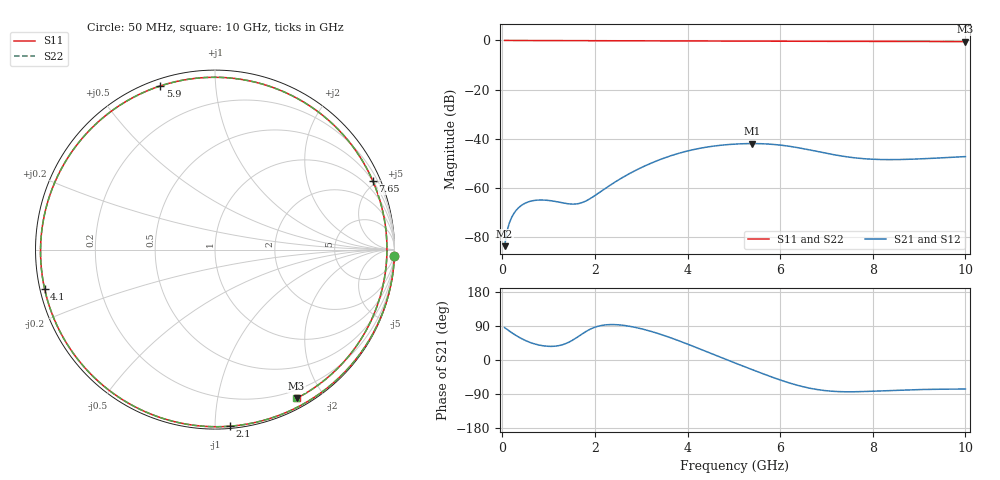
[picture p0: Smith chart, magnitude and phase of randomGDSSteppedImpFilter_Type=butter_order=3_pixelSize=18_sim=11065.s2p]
! freq	dB(S11)	phase(S11)	dB(S12)	phase(S12)
!  dB(S21)	phase(S21)	dB(S22)	phase(S22)
!S-par simulation data
#  GHz  S  DB  R 50
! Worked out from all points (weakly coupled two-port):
!   200 points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, 50 MHz to 10 GHz, reference 50 ohm
!   highest |S21| = -41.87 dB at 5.4 GHz (marker M1); lowest = -83.5 dB at 50 MHz (marker M2)
!   lowest |S11| = -0.5 dB at 10 GHz (marker M3), VSWR 35.47, Z = 5.42 - j84.2 ohm
!   |S11| at or under -10 dB: nowhere
!   |S22| runs from -0.5 to 0.0 dB; largest |S21 - S12| = 0
!   S11 on the Smith chart (normalised r, x): 50 MHz: 0, -55; 2.1 GHz: 0.01, -1.09; 4.1 GHz: 0.01, -0.11; 5.9 GHz: 0.03, +0.72; 7.65 GHz: 0.50, +4.76; 10 GHz: 0.11, -1.68
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0.05  -0.00 -2.1  -83.53 85.5  -83.53 85.5  -0.00 -2.1
0.25  -0.01 -10.3  -70.24 68.3  -70.24 68.3  -0.01 -10.3
0.5  -0.02 -20.6  -66.02 51.4  -66.02 51.4  -0.02 -20.6
0.8  -0.04 -32.8  -64.79 39.3  -64.79 39.3  -0.04 -32.8
1.15  -0.06 -47.0  -65.39 36.6  -65.39 36.6  -0.06 -47.0
1.5  -0.08 -61.1  -66.44 51.0  -66.44 51.0  -0.08 -61.1
1.75  -0.09 -71.1  -65.64 70.9  -65.64 70.9  -0.09 -71.1
2.1  -0.11 -85.1  -61.71 90.1  -61.71 90.1  -0.11 -85.1
2.75  -0.14 -111.2  -54.03 88.9  -54.03 88.9  -0.14 -111.2
3.4  -0.18 -137.6  -48.41 68.5  -48.41 68.5  -0.18 -137.6
4.1  -0.23 -167.1  -44.43 37.2  -44.43 37.2  -0.23 -167.2
4.6  -0.26 170.7  -42.81 12.8  -42.81 12.8  -0.26 170.7
5.05  -0.29 149.9  -42.05 -9.0  -42.05 -9.0  -0.29 149.8
5.4  -0.32 133.2  -41.87 -25.6  -41.87 -25.6  -0.32 133.1
5.9  -0.34 108.5  -42.29 -48.4  -42.29 -48.4  -0.34 108.4
6.3  -0.35 88.5  -43.27 -64.2  -43.27 -64.2  -0.35 88.4
6.7  -0.36 68.5  -44.68 -75.9  -44.68 -75.9  -0.36 68.4
7.2  -0.36 44.2  -46.52 -83.0  -46.52 -83.0  -0.36 44.1
7.65  -0.37 23.5  -47.74 -83.7  -47.74 -83.7  -0.37 23.4
8.35  -0.38 -5.9  -48.39 -80.5  -48.39 -80.5  -0.38 -6.0
9.2  -0.42 -36.6  -47.93 -77.6  -47.93 -77.6  -0.42 -36.7
10  -0.49 -61.3  -47.16 -76.6  -47.16 -76.6  -0.49 -61.4
